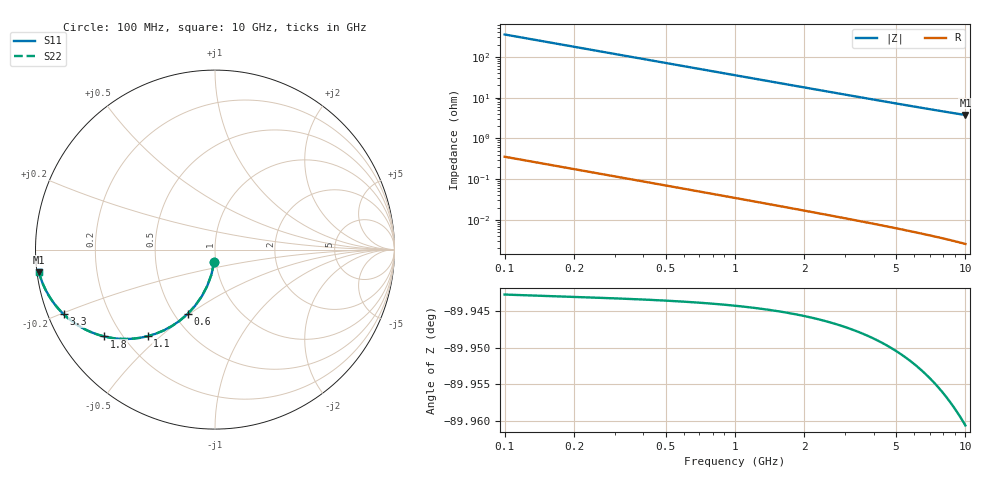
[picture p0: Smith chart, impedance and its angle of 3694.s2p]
# Hz S RI R 50.00
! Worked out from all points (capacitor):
!   100 points, 100 MHz to 10 GHz, reference 50 ohm
!   read as one part in shunt: C = 4.49 pF near 100 MHz
!   lowest |Z| = 3.74 ohm at 10 GHz (marker M1)
!   S11 on the Smith chart (normalised r, x): 100 MHz: 0.98, -0.14; 600 MHz: 0.58, -0.49; 1.1 GHz: 0.29, -0.45; 1.8 GHz: 0.14, -0.34; 3.3 GHz: 0.04, -0.20; 10 GHz: 0.01, -0.06
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1e8  -0.00497 -0.0701  0.9949 -0.0703  0.9949 -0.0703  -0.00497 -0.0701
2e8  -0.0196 -0.1381  0.9803 -0.1384  0.9803 -0.1384  -0.0196 -0.1381
3e8  -0.043 -0.2021  0.9569 -0.2027  0.9569 -0.2027  -0.043 -0.2021
4e8  -0.0739 -0.2608  0.926 -0.2615  0.926 -0.2615  -0.0739 -0.2608
5e8  -0.1108 -0.3129  0.8891 -0.3139  0.8891 -0.3139  -0.1108 -0.3129
6e8  -0.152 -0.358  0.8479 -0.3592  0.8479 -0.3592  -0.152 -0.358
7e8  -0.1961 -0.3959  0.8038 -0.3973  0.8038 -0.3973  -0.1961 -0.3959
8e8  -0.2416 -0.4268  0.7583 -0.4284  0.7583 -0.4284  -0.2416 -0.4268
9e8  -0.2873 -0.4511  0.7126 -0.4529  0.7126 -0.4529  -0.2873 -0.4511
1.1e9  -0.3757 -0.4827  0.6242 -0.4849  0.6242 -0.4849  -0.3757 -0.4827
1.4e9  -0.4935 -0.4981  0.5064 -0.5008  0.5064 -0.5008  -0.4935 -0.4981
1.8e9  -0.6169 -0.4839  0.383 -0.4874  0.383 -0.4874  -0.6169 -0.4839
2.1e9  -0.6866 -0.4613  0.3133 -0.4654  0.3133 -0.4654  -0.6866 -0.4613
2.5e9  -0.7564 -0.4263  0.2435 -0.4312  0.2435 -0.4312  -0.7564 -0.4263
2.9e9  -0.8069 -0.3913  0.193 -0.397  0.193 -0.397  -0.8069 -0.3913
3.3e9  -0.844 -0.359  0.1559 -0.3655  0.1559 -0.3655  -0.844 -0.359
3.4e9  -0.8517 -0.3515  0.1482 -0.3582  0.1482 -0.3582  -0.8517 -0.3515
4.2e9  -0.8976 -0.2984  0.1022 -0.3067  0.1022 -0.3067  -0.8976 -0.2984
5.1e9  -0.9283 -0.2523  0.0716 -0.2624  0.0716 -0.2624  -0.9283 -0.2523
6.7e9  -0.9573 -0.1947  0.0425 -0.2081  0.0425 -0.2081  -0.9573 -0.1947
8.4e9  -0.9725 -0.154  0.0272 -0.1709  0.0272 -0.1709  -0.9725 -0.154
1e10  -0.9806 -0.1266  0.0191 -0.147  0.0191 -0.147  -0.9806 -0.1266
